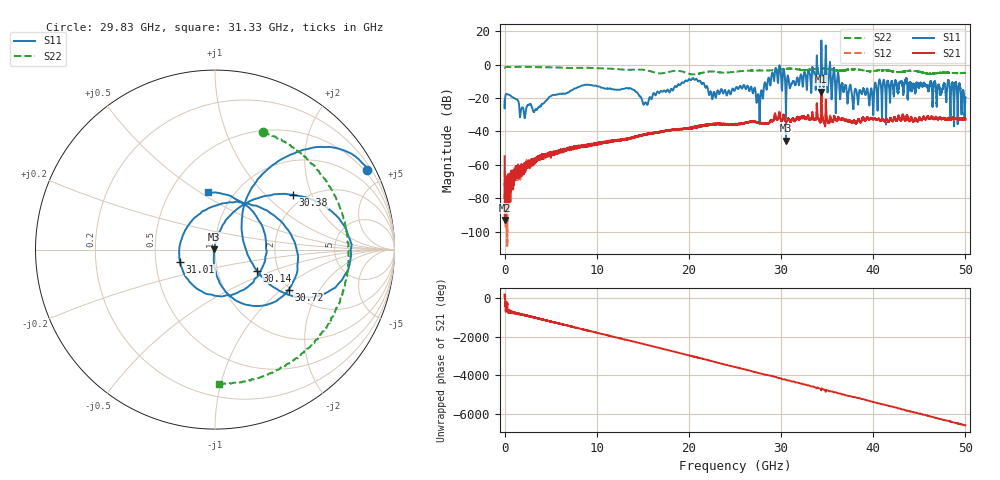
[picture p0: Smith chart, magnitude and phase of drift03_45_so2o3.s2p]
!Created with skrf (http://scikit-rf.org).
# Hz S RI R 50.0
!freq ReS11 ImS11 ReS21 ImS21 ReS12 ImS12 ReS22 ImS22
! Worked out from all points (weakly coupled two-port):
!   10001 points, 300 kHz to 50 GHz, reference 50 ohm
!   highest |S21| = -16.31 dB at 34.37 GHz (marker M1); lowest = -93.1 dB at 80.3 MHz (marker M2)
!   lowest |S11| = -45.6 dB at 30.53 GHz (marker M3), VSWR 1.01, Z = 49.5 + j0.243 ohm
!   |S11| at or under -10 dB: start of sweep to 19.55 GHz; 21.25 GHz to 28.55 GHz (7.295 GHz wide, 29.3 % of centre); 36.28 GHz to 40.62 GHz (4.338 GHz wide, 11.3 % of centre) (the widest 3 of 38)
!   |S22| runs from -5.9 to -1.3 dB; largest |S21 - S12| = 0.026
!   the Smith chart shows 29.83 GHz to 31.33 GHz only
!   S11 on the Smith chart (normalised r, x): 29.83 GHz: 0.42, +4.03; 30.14 GHz: 1.55, -0.39; 30.38 GHz: 1.74, +1.48; 30.72 GHz: 1.97, -1.12; 31.01 GHz: 0.67, -0.10; 31.33 GHz: 0.76, +0.54
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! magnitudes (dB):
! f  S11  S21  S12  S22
! 300 kHz  -21.5  -54.8  -63.1  -2.0
! 80.3 MHz  -18.9  -93.1  -85.4  -1.5
! 3.3 GHz  -27.2  -56.5  -56.9  -1.5
! 8.335 GHz  -12.6  -49.2  -49.0  -1.9
! 15.28 GHz  -22.8  -42.0  -41.9  -3.3
! 16.67 GHz  -16.5  -40.4  -40.6  -5.2
! 20.26 GHz  -9.2  -38.2  -37.7  -5.8
! 22.71 GHz  -16.4  -35.8  -35.6  -4.2
! 25 GHz  -15.3  -35.8  -35.8  -4.3
! 27.53 GHz  -17.8  -34.6  -34.5  -3.5
! 29.83 GHz  -0.4  -29.3  -28.4  -3.0
! 30.14 GHz  -11.7  -33.1  -33.4  -2.8
! 30.38 GHz  -5.5  -31.9  -32.4  -2.6
! 30.53 GHz  -45.6  -34.0  -34.1  -2.5
! 30.72 GHz  -6.6  -32.7  -32.8  -2.5
! 31.01 GHz  -13.7  -34.1  -34.2  -2.4
! 31.33 GHz  -9.9  -32.3  -32.2  -2.5
! 33.34 GHz  -7.6  -31.2  -31.2  -2.9
! 34.37 GHz  14.4  -16.3  -17.2  -2.3
! 37.86 GHz  -26.3  -33.7  -34.1  -2.8
! 41.67 GHz  -11.4  -34.2  -34.1  -3.7
! 50 GHz  -19.7  -32.8  -32.7  -4.9
